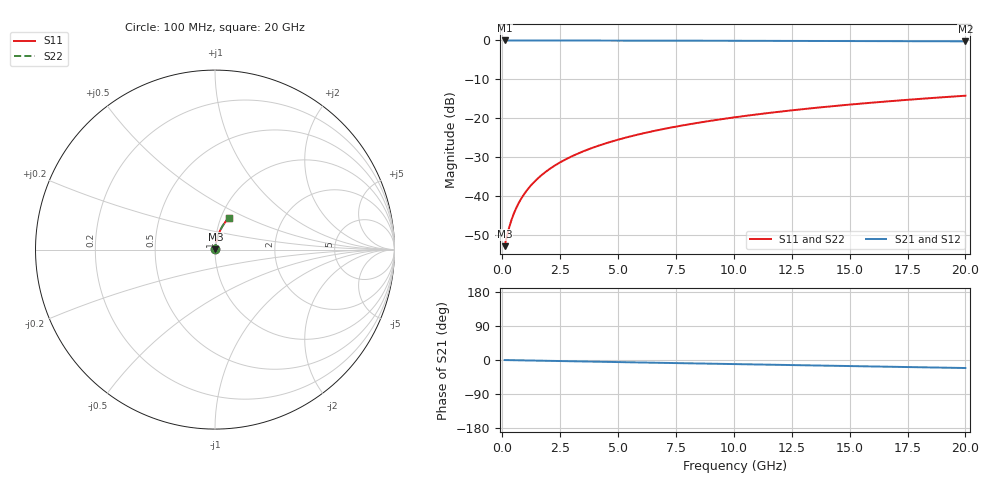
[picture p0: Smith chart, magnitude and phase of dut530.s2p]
! Touchstone file exported from HFSS 2026.1.0
!  File:  C:/ffzhzh/LocalFiles/Ansys_Project_Files/temp_train_TMRDL_530_1783007268_55676.aedt
!  Generated:  11:49:09 PM Jul  2, 2026
!  Design:  TMRDL
!  Project:  temp_train_TMRDL_530_1783007268_55676
! Variables:
!  h_bsmrdl = 2um
!  h_ox = 20um
!  h_rdl = 5um
!  h_sub = 80um
!  h_tmrdl = 5.32um
!  h_tsv = 80um
!  h_via = 3um
!  l_bsmrdl = 300um
!  l_sub = 711.84um
!  l_tmrdl = 311.84um
!  m_sub = 200um
!  pitch = 27.84um
!  r_tsv = 6um
!  s_tmrdl = 10um
!  w_bsmrdl = 18um
!  w_sub = 500um
!  w_tmrdl = 11.2um
!  x_tsv_center1 = 317.44um
!  x_tsv_center2 = 635.44um
!  x_tsv_center3 = 958.48um
!  x_tsv_center4 = 1276.48um
!  x_tsv_center5 = 1599.52um
!  x_tsv_center6 = 1917.52um
# GHz S MA R 50.000000
! Terminal data exported
! Port[1] = TM_RDL1_1_T1
! Port[2] = TM_RDL1_1_T2
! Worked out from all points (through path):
!   200 points, 100 MHz to 20 GHz, reference 50 ohm
!   highest |S21| = -0.02 dB at 100 MHz (marker M1); lowest = -0.2 dB at 20 GHz (marker M2)
!   group delay of S21, straight-line fit = 2.93 ps
!   lowest |S11| = -52.9 dB at 100 MHz (marker M3), VSWR 1.00, Z = 50.2 + j0.116 ohm
!   |S11| at or under -10 dB: start of sweep to end of sweep
!   |S22| runs from -52.9 to -14.2 dB; largest |S21 - S12| = 4e-15
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0.1  0.00226 30.9  0.9981 -0.1  0.9981 -0.1  0.00226 30.9
! Gamma 0 0 0 0
! Port Impedance 50 0 50 0
0.2  0.003039 48.8  0.998 -0.2  0.998 -0.2  0.003039 48.8
0.3  0.003967 58.5  0.9979 -0.3  0.9979 -0.3  0.003967 58.5
0.4  0.004946 64.4  0.9979 -0.5  0.9979 -0.5  0.004946 64.4
0.5  0.005951 68.4  0.9978 -0.6  0.9978 -0.6  0.005951 68.4
0.6  0.006972 71.2  0.9978 -0.7  0.9978 -0.7  0.006972 71.2
0.8  0.009046 74.8  0.9977 -0.9  0.9977 -0.9  0.009046 74.8
1  0.01115 77.1  0.9976 -1.1  0.9976 -1.1  0.01115 77.1
1.2  0.01326 78.5  0.9976 -1.3  0.9976 -1.3  0.01326 78.5
1.4  0.01538 79.5  0.9975 -1.6  0.9975 -1.6  0.01538 79.5
1.7  0.01857 80.4  0.9973 -1.9  0.9973 -1.9  0.01857 80.4
2.2  0.02387 81.1  0.997 -2.4  0.997 -2.4  0.02387 81.1
2.8  0.03019 81.3  0.9966 -3.1  0.9966 -3.1  0.03019 81.3
3.5  0.0375 81.1  0.996 -3.9  0.996 -3.9  0.0375 81.1
4.2  0.04472 80.7  0.9954 -4.6  0.9954 -4.6  0.04472 80.7
5  0.05289 80.1  0.9946 -5.5  0.9946 -5.5  0.05289 80.1
6.8  0.07093 78.6  0.9926 -7.4  0.9926 -7.4  0.07094 78.6
8.3  0.0857 77.3  0.9908 -9.0  0.9908 -9.0  0.0857 77.3
10.1  0.1032 75.6  0.9885 -10.9  0.9885 -10.9  0.1032 75.6
13.4  0.1345 72.6  0.9837 -14.4  0.9837 -14.4  0.1345 72.6
16.7  0.1649 69.4  0.9783 -17.8  0.9783 -17.8  0.165 69.4
20  0.1944 66.3  0.9723 -21.2  0.9723 -21.2  0.1944 66.3
